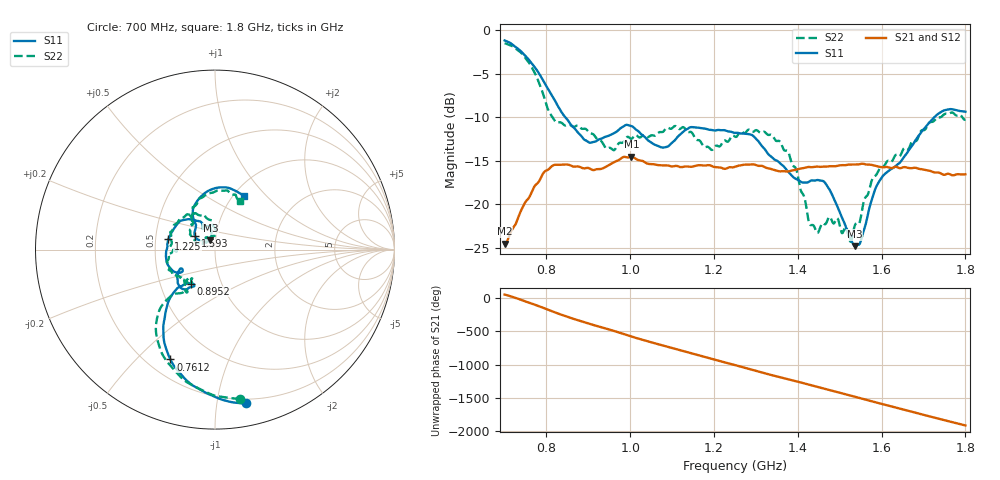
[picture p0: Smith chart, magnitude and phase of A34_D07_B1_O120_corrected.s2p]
! Created with skrf 1.9.0 (http://scikit-rf.org).
# Hz S RI R 50.0
!freq ReS11 ImS11 ReS21 ImS21 ReS12 ImS12 ReS22 ImS22
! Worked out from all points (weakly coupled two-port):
!   1601 points, 700 MHz to 1.8 GHz, reference 50 ohm
!   highest |S21| = -14.54 dB at 1.002 GHz (marker M1); lowest = -24.5 dB at 700 MHz (marker M2)
!   lowest |S11| = -24.8 dB at 1.536 GHz (marker M3), VSWR 1.12, Z = 47.2 + j4.86 ohm
!   |S11| at or under -10 dB: 845 MHz to 1.726 GHz (880.9 MHz wide, 68.5 % of centre)
!   |S22| runs from -24.3 to -1.5 dB; largest |S21 - S12| = 0.0035
!   S11 on the Smith chart (normalised r, x): 700 MHz: 0.17, -1.21; 761.2 MHz: 0.29, -0.63; 895.2 MHz: 0.72, -0.29; 1.225 GHz: 0.58, +0.08; 1.593 GHz: 0.79, +0.12; 1.8 GHz: 1.12, +0.76
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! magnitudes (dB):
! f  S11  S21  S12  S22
! 700 MHz  -1.2  -24.5  -24.3  -1.5
! 761.2 MHz  -3.6  -19.0  -18.9  -4.0
! 818.9 MHz  -8.0  -15.5  -15.6  -10.4
! 883.6 MHz  -12.2  -15.8  -15.7  -11.3
! 895.2 MHz  -12.7  -15.8  -15.9  -11.4
! 958.5 MHz  -11.9  -15.2  -15.2  -13.8
! 1.002 GHz  -11.0  -14.5  -14.6  -12.5
! 1.067 GHz  -13.3  -15.5  -15.5  -11.8
! 1.144 GHz  -11.1  -15.7  -15.7  -11.7
! 1.193 GHz  -11.5  -15.6  -15.6  -13.7
! 1.225 GHz  -11.5  -15.9  -15.9  -12.7
! 1.25 GHz  -11.8  -15.7  -15.6  -12.2
! 1.357 GHz  -15.3  -16.2  -16.2  -12.8
! 1.396 GHz  -17.1  -16.0  -16.0  -15.9
! 1.434 GHz  -17.3  -15.7  -15.7  -22.4
! 1.47 GHz  -17.9  -15.7  -15.7  -21.9
! 1.526 GHz  -24.0  -15.4  -15.4  -24.3
! 1.536 GHz  -24.8  -15.4  -15.4  -22.4
! 1.593 GHz  -17.5  -15.7  -15.7  -16.1
! 1.617 GHz  -16.2  -15.8  -15.7  -15.0
! 1.734 GHz  -9.6  -16.3  -16.4  -10.0
! 1.8 GHz  -9.4  -16.6  -16.5  -10.3
